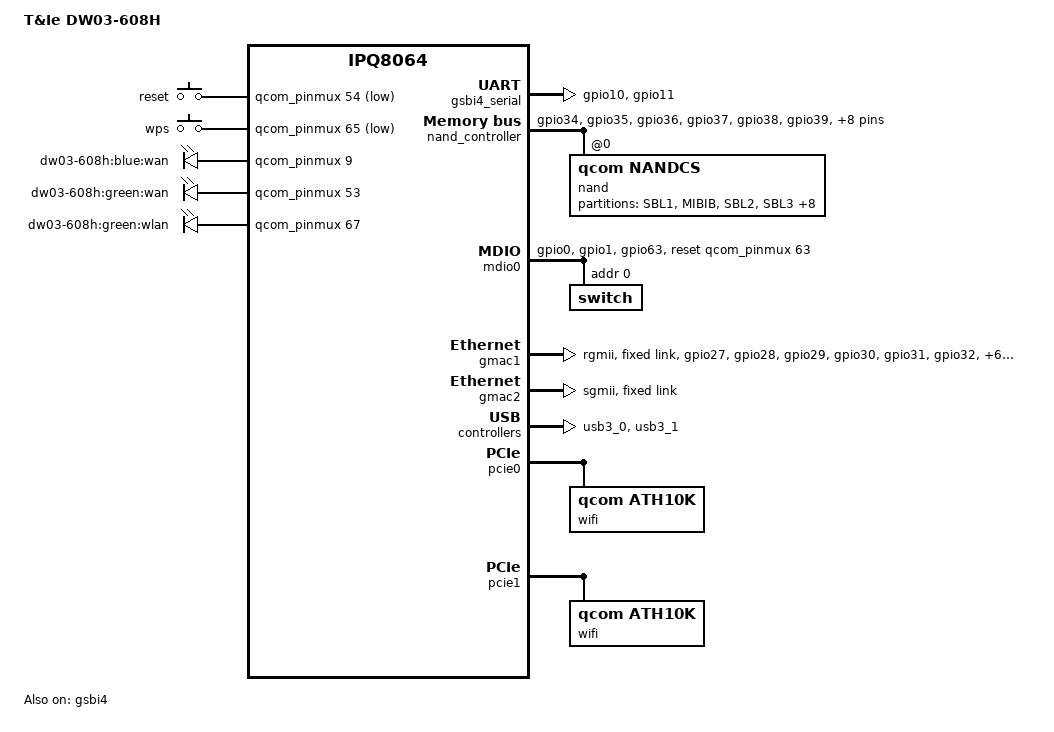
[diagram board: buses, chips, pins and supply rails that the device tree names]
// SPDX-License-Identifier: GPL-2.0-or-later OR MIT
#include "qcom-ipq8065.dtsi"

#include <dt-bindings/input/input.h>

/ {
	model = "T&Ie DW03-608H";
	compatible = "tnie,dw03-608h", "qcom,ipq8065", "qcom,ipq8064";

	aliases {
		serial0 = &gsbi4_serial;
		led-boot = &led_wan_blue;
		led-failsafe = &led_wan_blue;
		led-upgrade = &led_wan_blue;
	};

	chosen {
		stdout-path = "serial0:115200n8";
	};

	keys {
		compatible = "gpio-keys";
		pinctrl-0 = <&button_pins>;
		pinctrl-names = "default";

		reset {
			label = "reset";
			gpios = <&qcom_pinmux 54 GPIO_ACTIVE_LOW>;
			linux,code = <KEY_RESTART>;
		};

		wps {
			label = "wps";
			gpios = <&qcom_pinmux 65 GPIO_ACTIVE_LOW>;
			linux,code = <KEY_WPS_BUTTON>;
		};
	};

	leds {
		compatible = "gpio-leds";
		pinctrl-0 = <&led_pins>;
		pinctrl-names = "default";

		led_wan_blue: wan-blue {
			label = "dw03-608h:blue:wan";
			gpios = <&qcom_pinmux 9 GPIO_ACTIVE_HIGH>;
		};

		wan-green {
			label = "dw03-608h:green:wan";
			gpios = <&qcom_pinmux 53 GPIO_ACTIVE_HIGH>;
		};

		wlan {
			label = "dw03-608h:green:wlan";
			gpios = <&qcom_pinmux 67 GPIO_ACTIVE_HIGH>;
		};
	};
};

&qcom_pinmux {
	led_pins: led_pins {
		mux {
			pins = "gpio9", "gpio53", "gpio67";
			function = "gpio";
			drive-strength = <2>;
			bias-pull-down;
		};
	};

	button_pins: button_pins {
		mux {
			pins = "gpio54", "gpio65";
			function = "gpio";
			drive-strength = <2>;
			bias-pull-up;
		};
	};

	uart_pins: uart_pins {
		mux {
			pins = "gpio10", "gpio11";
			function = "gsbi4";
			drive-strength = <12>;
			bias-disable;
		};
	};

	rpm_pins: rpm_pins {
		mux {
			pins = "gpio12", "gpio13";
			function = "gsbi4";
			drive-strength = <12>;
			bias-disable;
		};
	};

	nand_pins: nand_pins {
		disable {
			pins = "gpio34", "gpio35", "gpio36", "gpio37",
			       "gpio38";
			function = "nand";
			drive-strength = <10>;
			bias-disable;
		};

		pullups {
			pins = "gpio39";
			function = "nand";
			drive-strength = <10>;
			bias-pull-up;
		};

		hold {
			pins = "gpio40", "gpio41", "gpio42", "gpio43",
			       "gpio44", "gpio45", "gpio46", "gpio47";
			function = "nand";
			drive-strength = <10>;
			bias-bus-hold;
		};
	};

	mdio_pins: mdio_pins {
		mux {
			pins = "gpio0", "gpio1";
			function = "mdio";
			drive-strength = <8>;
			bias-disable;
		};

		clk {
			pins = "gpio1";
			input-disable;
		};

		reset {
			pins = "gpio63";
			function = "gpio";
			drive-strength = <8>;
			bias-pull-down;
		};
	};

	rgmii2_pins: rgmii2_pins {
		mux {
			pins = "gpio27", "gpio28", "gpio29", "gpio30",
			       "gpio31", "gpio32", "gpio51", "gpio52",
			       "gpio59", "gpio60", "gpio61", "gpio62";
			function = "rgmii2";
			drive-strength = <8>;
			bias-disable;
		};

		tx {
			pins = "gpio27", "gpio28", "gpio29", "gpio30",
			       "gpio31", "gpio32";
			input-disable;
		};
	};
};

&gsbi4 {
	qcom,mode = <GSBI_PROT_I2C_UART>;
	status = "okay";

	/*
	* The i2c device on gsbi4 should not be enabled.
	* On ipq806x designs gsbi4 i2c is meant for exclusive
	* RPM usage. Turning this on in kernel manifests as
	* i2c failure for the RPM.
	*/
};

&gsbi4_serial {
	status = "okay";

	pinctrl-0 = <&uart_pins>;
	pinctrl-names = "default";
};

&rpm {
	pinctrl-0 = <&rpm_pins>;
	pinctrl-names = "default";
};

&adm_dma {
	status = "okay";
};

&nand_controller {
	status = "okay";

	pinctrl-0 = <&nand_pins>;
	pinctrl-names = "default";

	nand@0 {
		reg = <0>;
		compatible = "qcom,nandcs";

		nand-ecc-strength = <4>;
		nand-bus-width = <8>;
		nand-ecc-step-size = <512>;

		partitions {
			compatible = "fixed-partitions";
			#address-cells = <1>;
			#size-cells = <1>;

			partition@0 {
				label = "SBL1";
				reg = <0x0 0x40000>;
				read-only;
			};

			partition@40000 {
				label = "MIBIB";
				reg = <0x40000 0x140000>;
				read-only;
			};

			partition@180000 {
				label = "SBL2";
				reg = <0x180000 0x140000>;
				read-only;
			};

			partition@2c0000 {
				label = "SBL3";
				reg = <0x2c0000 0x280000>;
				read-only;
			};

			partition@540000 {
				label = "DDRCONFIG";
				reg = <0x540000 0x120000>;
				read-only;
			};

			partition@660000 {
				label = "SSD";
				reg = <0x660000 0x120000>;
				read-only;
			};

			partition@780000 {
				label = "TZ";
				reg = <0x780000 0x280000>;
				read-only;
			};

			partition@a00000 {
				label = "RPM";
				reg = <0xa00000 0x280000>;
				read-only;
			};

			partition@c80000 {
				label = "APPSBL";
				reg = <0xc80000 0x500000>;
				read-only;
			};

			partition@1180000 {
				label = "APPSBLENV";
				reg = <0x1180000 0x180000>;
			};

			partition@1300000 {
				label = "ART";
				reg = <0x1300000 0x140000>;
				read-only;
			};

			partition@1440000 {
				label = "ubi";
				reg = <0x1440000 0xebc0000>;
			};
		};
	};
};

&mdio0 {
	status = "okay";

	pinctrl-0 = <&mdio_pins>;
	pinctrl-names = "default";
	reset-gpios = <&qcom_pinmux 63 GPIO_ACTIVE_HIGH>;
	reset-delay-us = <2000>;

	switch@0 {
		reg = <0x0>;
		qca,ar8327-initvals = <
			0x0004 0x07600000  /* PAD0_MODE */
			0x0008 0x01000000  /* PAD5_MODE */
			0x000c 0x00000080  /* PAD6_MODE */
			0x0010 0x002613a0  /* POWER_ON_STRAP */
			0x007c 0x0000004e  /* PORT0_STATUS */
			0x0094 0x0000004e  /* PORT6_STATUS */
			0x00e0 0xc74164de  /* SGMII_CTRL */
			0x00e4 0x000aa545  /* MAC_POWER_SEL */
		>;
	};
};

&gmac1 {
	status = "okay";

	pinctrl-0 = <&rgmii2_pins>;
	pinctrl-names = "default";

	phy-mode = "rgmii";
	qcom,id = <1>;

	fixed-link {
		speed = <1000>;
		full-duplex;
	};
};

&gmac2 {
	status = "okay";

	phy-mode = "sgmii";
	qcom,id = <2>;

	fixed-link {
		speed = <1000>;
		full-duplex;
	};
};

&usb3_0 {
	status = "okay";
};

&dwc3_0 {
	#address-cells = <1>;
	#size-cells = <0>;

	port@1 {
		reg = <1>;
		#trigger-source-cells = <0>;
	};
};

&usb3_1 {
	status = "okay";
};

&dwc3_1 {
	#address-cells = <1>;
	#size-cells = <0>;

	port@1 {
		reg = <1>;
		#trigger-source-cells = <0>;
	};
};

&pcie0 {
	status = "okay";

	/delete-property/ perst-gpios;

	bridge@0,0 {
		reg = <0x00000000 0 0 0 0>;
		#address-cells = <3>;
		#size-cells = <2>;
		ranges;

		wifi@1,0 {
			compatible = "qcom,ath10k";
			reg = <0x00010000 0 0 0 0>;
		};
	};
};

&pcie1 {
	status = "okay";

	/delete-property/ perst-gpios;

	bridge@0,0 {
		reg = <0x00000000 0 0 0 0>;
		#address-cells = <3>;
		#size-cells = <2>;
		ranges;

		wifi@1,0 {
			compatible = "qcom,ath10k";
			reg = <0x00010000 0 0 0 0>;
		};
	};
};
